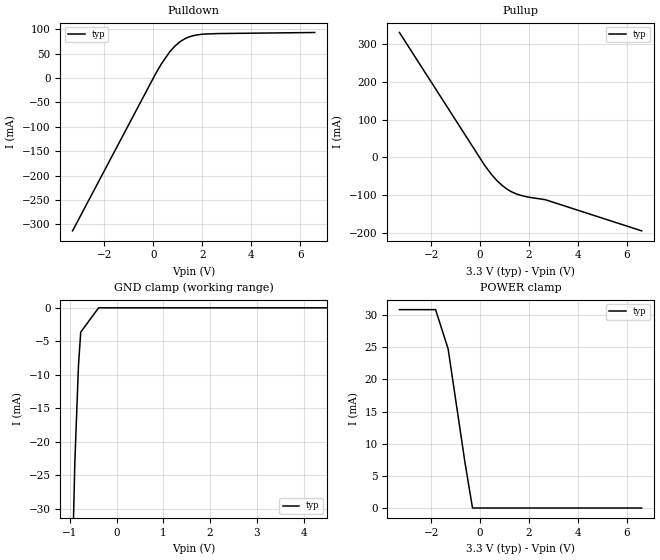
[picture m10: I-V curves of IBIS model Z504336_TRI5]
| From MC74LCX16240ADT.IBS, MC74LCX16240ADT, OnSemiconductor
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| (C) COPYRIGHT 1993-2000
| MENTOR GRAPHICS CORPORATION
| ICX STANDARD LIBRARY, ICX PROJECT MODELING,
| ICX CUSTOM MODELING, ICX VENDOR MODEL
| ALL RIGHTS RESERVED.
| THE FOLLOWING ARE TRADEMARKS OR SERVICE MARKS OF
| MENTOR GRAPHICS CORPORATION:ICX (R), ICX STANDARD
| LIBRARY(R), ICX PROJECT MODELING(R), ICX CUSTOM
| MODELING(R), qualityIBIS(TM), MODELVIEWER(TM),
| AND MODELEDITOR(TM)
| ALL COPIES OF SOFTWARE, INCLUDING BUT NOT LIMITED TO
| ANY MODIFICATIONS, ENHANCEMENTS OR DERIVATIVE WORKS,
| MUST CONTAIN ALL MENTOR GRAPHICS CORPORATION'S
| NOTICES AND LEGENDS, INCLUDING THOSE EMBEDDED IN
| SOFTWARE AND THOSE AFFIXED TO SOFTWARE MEDIUM
| AND CONTAINER, AS RECEIVED FROM MENTOR GRAPHICS
| CORPORATION.
| Model Application Version 1.89 2/18/99.
[Model] Z504336_TRI5
Model_type 3-state
Vref=0.000V
Rref=500.0ohms
Cref=50.00pF
Vmeas=1.500V
C_comp 8.000pF NA NA
| variable typ   min   max
[Voltage Range] 3.300V NA NA
[POWER Clamp Reference] 3.300V NA NA
[Pullup Reference] 3.300V NA NA
[Pulldown Reference] 0.000V NA NA
[GND Clamp Reference] 0.000V NA NA
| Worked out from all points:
|   slope of the pulldown table from 0 to 0.495 V, typ, clamps not added: 12 ohm
|   slope of the pullup table from 0 to 0.495 V, typ, clamps not added: 11 ohm
[GND Clamp]
-3.3V     -950.2mA   NA         NA
-1.006V   -56.4mA    NA         NA
-892.7mV  -23.17mA   NA         NA
-814.4mV  -8.61mA    NA         NA
-766.3mV  -3.621mA   NA         NA
-383.2mV  0A         NA         NA
6.6V      0A         NA         NA
[Pulldown]
-3.3V     -313.6mA   NA         NA
78.13mV   7.425mA    NA         NA
337.2mV   29.77mA    NA         NA
667.5mV   53.57mA    NA         NA
1.064V    73.59mA    NA         NA
1.47V     84.72mA    NA         NA
1.768V    88.48mA    NA         NA
2.187V    90.74mA    NA         NA
6.6V      93.62mA    NA         NA
[Pullup]
-3.3V     330.7mA    NA         NA
175mV     -20.03mA   NA         NA
469mV     -45.52mA   NA         NA
878mV     -73mA      NA         NA
1.2V      -88.03mA   NA         NA
1.608V    -99.43mA   NA         NA
2.656V    -111.7mA   NA         NA
6.6V      -194.3mA   NA         NA
[POWER Clamp]
-3.3V     30.86mA    NA         NA
-1.822V   30.86mA    NA         NA
-1.309V   24.74mA    NA         NA
-626mV    7.191mA    NA         NA
-313mV    0A         NA         NA
6.6V      0A         NA         NA
[Ramp]
| variable typ min max
dV/dt_r 1.955/401.8p NA NA
dV/dt_f 1.955/437.1p NA NA
R_load = 500.0Ohms
